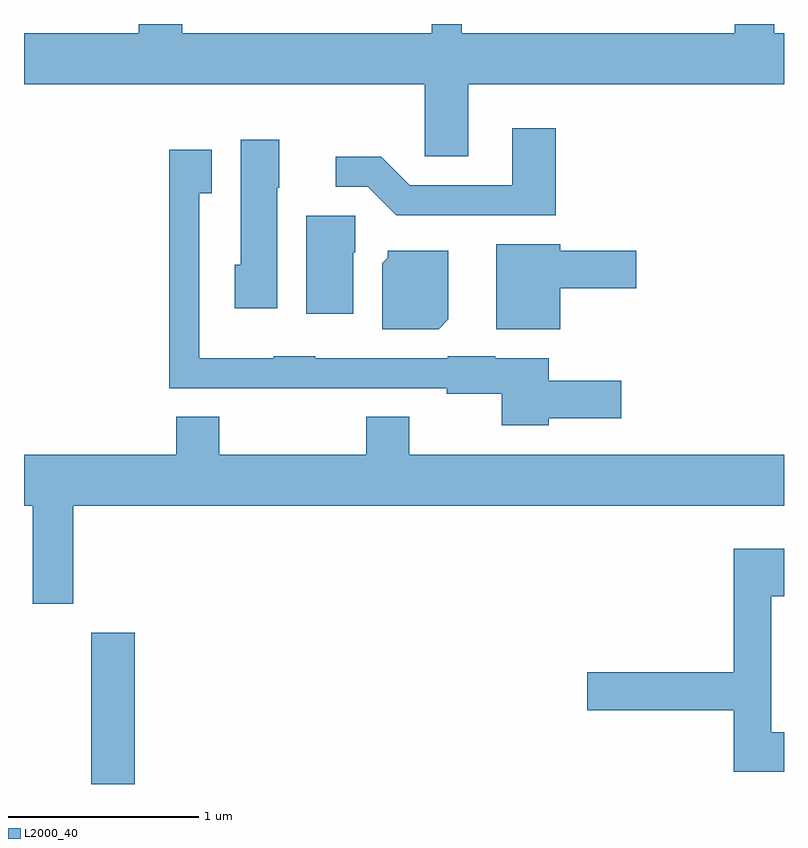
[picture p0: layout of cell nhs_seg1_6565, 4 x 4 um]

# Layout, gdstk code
import gdstk
lib = gdstk.Library(unit=1e-6, precision=1e-09)
def R(c, l, rs):  # rectangles x0, y0, x1, y1
    for r in rs: c.add(gdstk.rectangle(r[:2], r[2:], *l))
def P(c, l, *ps):  # polygons
    for p in ps: c.add(gdstk.Polygon(p, *l))
L2000_40 = (2000, 40)

nhs_seg1_6565 = lib.new_cell('nhs_seg1_6565')
R(nhs_seg1_6565, L2000_40, [(383.966,853.712,384.194,854.509)])
P(nhs_seg1_6565, L2000_40, [(385.949,857.396),(387.611,857.396),(387.611,857.664),(387.559,857.664),(387.559,857.712),(387.351,857.712),(387.351,857.664),(385.914,857.664),(385.914,857.712),(385.756,857.712),(385.756,857.664),(384.444,857.664),(384.444,857.712),(384.216,857.712),(384.216,857.664),(383.611,857.664),(383.611,857.396),(385.721,857.396),(385.721,857.016),(385.949,857.016)],
  [(386.409,857.164),(386.181,857.164),(386.181,856.864),(385.642,856.864),(385.492,857.014),(385.253,857.014),(385.253,856.856),(385.419,856.856),(385.569,856.706),(386.409,856.706)],
  [(384.944,856.85),(384.954,856.85),(384.954,857.104),(384.751,857.104),(384.751,856.444),(384.721,856.444),(384.721,856.216),(384.944,856.216)],
  [(386.374,855.636),(386.754,855.636),(386.754,855.834),(386.374,855.834),(386.374,855.954),(386.09,855.954),(386.09,855.964),(385.84,855.964),(385.84,855.954),(385.145,855.954),(385.145,855.964),(384.925,855.964),(384.925,855.954),(384.534,855.954),(384.534,856.821),(384.599,856.821),(384.599,857.049),(384.376,857.049),(384.376,855.796),(385.836,855.796),(385.836,855.766),(386.126,855.766),(386.126,855.601),(386.374,855.601)],
  [(385.344,856.51),(385.354,856.51),(385.354,856.704),(385.096,856.704),(385.096,856.186),(385.344,856.186)],
  [(386.434,856.321),(386.834,856.321),(386.834,856.519),(386.434,856.519),(386.434,856.554),(386.096,856.554),(386.096,856.106),(386.434,856.106)],
  [(385.844,856.157),(385.844,856.519),(385.526,856.519),(385.526,856.482),(385.496,856.452),(385.496,856.106),(385.794,856.106)],
  [(383.869,855.176),(387.611,855.176),(387.611,855.444),(385.639,855.444),(385.639,855.644),(385.411,855.644),(385.411,855.444),(384.639,855.444),(384.639,855.644),(384.411,855.644),(384.411,855.444),(383.611,855.444),(383.611,855.176),(383.656,855.176),(383.656,854.661),(383.869,854.661)],
  [(387.611,853.984),(387.544,853.984),(387.544,854.701),(387.611,854.701),(387.611,854.949),(387.346,854.949),(387.346,854.299),(386.576,854.299),(386.576,854.101),(387.346,854.101),(387.346,853.776),(387.611,853.776)])

lib.write_gds('nhs_seg1_6565.gds')
